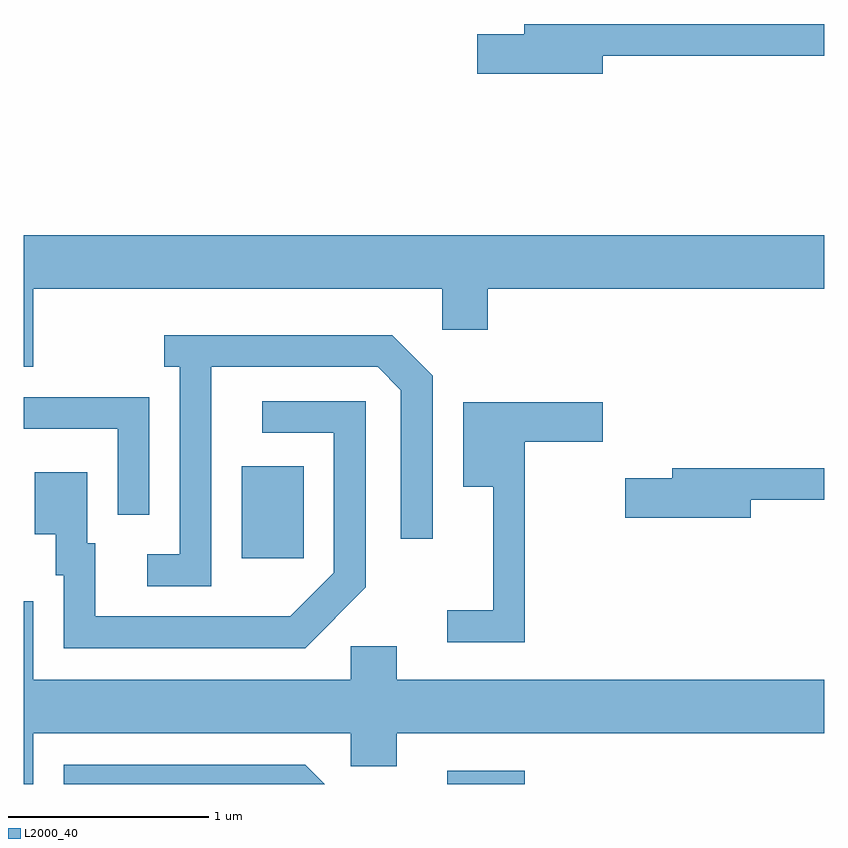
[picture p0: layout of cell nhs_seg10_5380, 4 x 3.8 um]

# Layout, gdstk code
import gdstk
lib = gdstk.Library(unit=1e-6, precision=1e-09)
def R(c, l, rs):  # rectangles x0, y0, x1, y1
    for r in rs: c.add(gdstk.rectangle(r[:2], r[2:], *l))
def P(c, l, *ps):  # polygons
    for p in ps: c.add(gdstk.Polygon(p, *l))
L2000_40 = (2000, 40)

nhs_seg10_5380 = lib.new_cell('nhs_seg10_5380')
R(nhs_seg10_5380, L2000_40, [(345.728,2142.522,346.114,2142.589), (344.701,2143.651,345.009,2144.109)])
P(nhs_seg10_5380, L2000_40, [(346.504,2146.161),(347.611,2146.161),(347.611,2146.319),(346.111,2146.319),(346.111,2146.269),(345.876,2146.269),(345.876,2146.071),(346.504,2146.071)],
  [(343.659,2144.996),(345.701,2144.996),(345.701,2144.791),(345.929,2144.791),(345.929,2144.996),(347.611,2144.996),(347.611,2145.264),(343.611,2145.264),(343.611,2144.606),(343.659,2144.606)],
  [(344.549,2144.606),(345.379,2144.606),(345.496,2144.489),(345.496,2143.748),(345.654,2143.748),(345.654,2144.562),(345.452,2144.764),(344.313,2144.764),(344.313,2144.606),(344.391,2144.606),(344.391,2143.669),(344.228,2143.669),(344.228,2143.511),(344.549,2143.511)],
  [(344.239,2144.454),(343.611,2144.454),(343.611,2144.296),(344.081,2144.296),(344.081,2143.868),(344.239,2143.868)],
  [(345.319,2143.504),(345.319,2144.434),(344.803,2144.434),(344.803,2144.276),(345.161,2144.276),(345.161,2143.577),(344.944,2143.359),(343.969,2143.359),(343.969,2143.724),(343.929,2143.724),(343.929,2144.079),(343.666,2144.079),(343.666,2143.771),(343.771,2143.771),(343.771,2143.566),(343.811,2143.566),(343.811,2143.201),(345.017,2143.201)],
  [(346.114,2144.231),(346.504,2144.231),(346.504,2144.429),(345.806,2144.429),(345.806,2144.006),(345.956,2144.006),(345.956,2143.389),(345.728,2143.389),(345.728,2143.231),(346.114,2143.231)],
  [(347.244,2143.941),(347.611,2143.941),(347.611,2144.099),(346.851,2144.099),(346.851,2144.049),(346.616,2144.049),(346.616,2143.851),(347.244,2143.851)],
  [(343.659,2142.776),(345.246,2142.776),(345.246,2142.611),(345.474,2142.611),(345.474,2142.776),(347.611,2142.776),(347.611,2143.044),(345.474,2143.044),(345.474,2143.209),(345.246,2143.209),(345.246,2143.044),(343.659,2143.044),(343.659,2143.434),(343.611,2143.434),(343.611,2142.522),(343.659,2142.522)],
  [(345.017,2142.619),(343.811,2142.619),(343.811,2142.522),(345.114,2142.522)])

lib.write_gds('nhs_seg10_5380.gds')
